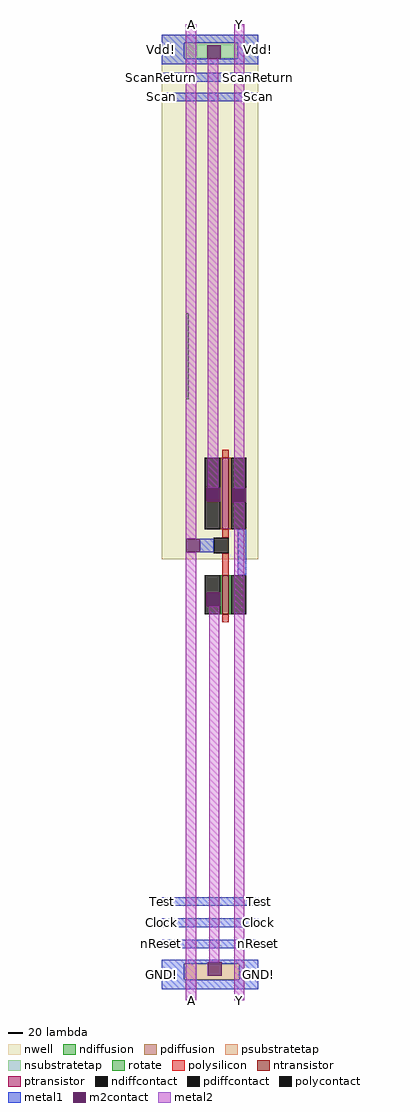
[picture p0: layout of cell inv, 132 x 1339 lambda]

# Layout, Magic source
magic
tech tsmc180
<< rotate >>
rect 33 824 37 942
<< nwell >>
rect 0 605 132 1324
<< polysilicon >>
rect 83 744 92 755
rect 83 634 92 646
rect 83 583 92 613
rect 83 518 92 529
<< ndiffusion >>
rect 80 529 83 583
rect 92 529 95 583
<< pdiffusion >>
rect 80 646 83 744
rect 92 646 95 744
<< ntransistor >>
rect 83 529 92 583
<< ptransistor >>
rect 83 646 92 744
<< polycontact >>
rect 71 613 92 634
<< ndiffcontact >>
rect 59 529 80 583
rect 95 529 116 583
<< pdiffcontact >>
rect 59 646 80 744
rect 95 646 116 744
<< psubstratetap >>
rect 31 28 106 50
<< nsubstratetap >>
rect 31 1291 104 1313
<< metal1 >>
rect 0 1313 132 1324
rect 0 1291 31 1313
rect 104 1291 132 1313
rect 0 1284 132 1291
rect 0 1260 132 1272
rect 0 1233 132 1245
rect 52 614 71 633
rect 104 583 116 646
rect 0 129 132 141
rect 0 100 132 112
rect 0 71 132 83
rect 0 52 132 55
rect 0 50 63 52
rect 82 50 132 52
rect 0 28 31 50
rect 106 28 132 50
rect 0 15 132 28
<< m2contact >>
rect 62 1291 81 1310
rect 61 684 80 703
rect 97 683 116 702
rect 33 614 52 633
rect 61 540 80 559
rect 63 50 82 52
rect 63 33 82 50
<< metal2 >>
rect 33 633 47 1339
rect 63 703 77 1291
rect 99 702 113 1339
rect 33 0 47 614
rect 65 52 79 540
rect 99 0 113 683
<< labels >>
rlabel metal2 33 1339 47 1339 5 A
rlabel metal2 33 0 47 0 1 A
rlabel metal2 99 1339 113 1339 5 Y
rlabel metal2 99 0 113 0 1 Y
rlabel metal1 132 1233 132 1245 7 Scan
rlabel metal1 132 1260 132 1272 7 ScanReturn
rlabel metal1 132 129 132 141 7 Test
rlabel metal1 132 100 132 112 7 Clock
rlabel metal1 132 71 132 83 7 nReset
rlabel metal1 0 1260 0 1272 3 ScanReturn
rlabel metal1 0 129 0 141 3 Test
rlabel metal1 0 100 0 112 3 Clock
rlabel metal1 0 71 0 83 3 nReset
rlabel metal1 0 1233 0 1245 3 Scan
rlabel metal1 0 15 0 55 3 GND!
rlabel metal1 132 15 132 55 7 GND!
rlabel metal1 132 1284 132 1324 7 Vdd!
rlabel metal1 0 1284 0 1324 3 Vdd!
<< end >>
